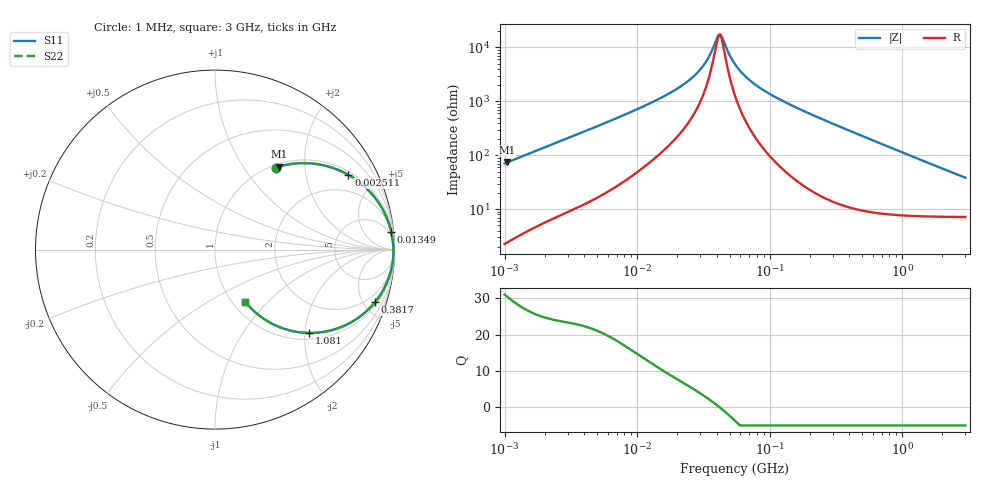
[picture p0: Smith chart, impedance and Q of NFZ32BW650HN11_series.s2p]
! NFZ32BW650HN11
# Hz S RI R 50
!Freq.(Hz) S11(Real) S11(Imag) S21(Real) S21(Imag) S12(Real) S12(Imag) S22(Real) S22(Imag)
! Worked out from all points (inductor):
!   401 points, 1 MHz to 3 GHz, reference 50 ohm
!   read as one part in series: L = 11.2 uH near 1.041 MHz
!   highest Q = 30.5 at 1.041 MHz (marker M1), where L = 11.2 uH
!   self-resonance near 41.39 MHz
!   S11 on the Smith chart (normalised r, x): 1 MHz: 1.05, +1.41; 2.511 MHz: 1.15, +3.48; 13.49 MHz: 3, +20; 381.7 MHz: 1.22, -5.99; 1.081 GHz: 1.15, -2.09; 3 GHz: 1.14, -0.75
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1000000  0.3381 0.4572  0.6619 -0.4572  0.6619 -0.4572  0.3381 0.4572
1040844  0.3554 0.4625  0.6446 -0.4625  0.6446 -0.4625  0.3554 0.4625
1584654  0.5498 0.4788  0.4502 -0.4788  0.4502 -0.4788  0.5498 0.4788
2511129  0.743 0.4166  0.257 -0.4166  0.257 -0.4166  0.743 0.4166
3823119  0.8636 0.3218  0.1364 -0.3218  0.1364 -0.3218  0.8636 0.3218
1.349163e7  0.9821 0.0963  0.0179 -0.0963  0.0179 -0.0963  0.9821 0.0963
1.461624e7  0.984 0.0875  0.016 -0.0875  0.016 -0.0875  0.984 0.0875
2.137957e7  0.9901 0.0512  0.00989 -0.0512  0.00989 -0.0512  0.9901 0.0512
2.829425e7  0.9926 0.0288  0.00738 -0.0288  0.00738 -0.0288  0.9926 0.0288
3.387922e7  0.9936 0.0154  0.00638 -0.0154  0.00638 -0.0154  0.9936 0.0154
4.138676e7  0.9943 0.000981  0.00574 -0.000981  0.00574 -0.000981  0.9943 0.000981
4.394807e7  0.9944 -0.00336  0.00565 0.00336  0.00565 0.00336  0.9944 -0.00336
4.955604e7  0.9944 -0.0121  0.0056 0.0121  0.0056 0.0121  0.9944 -0.0121
5.477226e7  0.9943 -0.0196  0.00571 0.0196  0.00571 0.0196  0.9943 -0.0196
6.690963e7  0.9936 -0.0352  0.0064 0.0352  0.0064 0.0352  0.9936 -0.0352
8.679508e7  0.9916 -0.0577  0.00844 0.0577  0.00844 0.0577  0.9916 -0.0577
2.094008e8  0.9633 -0.1699  0.0367 0.1699  0.0367 0.1699  0.9633 -0.1699
3.817355e8  0.8912 -0.2933  0.1088 0.2933  0.1088 0.2933  0.8912 -0.2933
8.005644e8  0.6593 -0.4465  0.3407 0.4465  0.3407 0.4465  0.6593 -0.4465
1.080907e9  0.5227 -0.4645  0.4773 0.4645  0.4773 0.4645  0.5227 -0.4645
1.855641e9  0.2952 -0.4003  0.7048 0.4003  0.7048 0.4003  0.2952 -0.4003
3e9  0.1696 -0.292  0.8304 0.292  0.8304 0.292  0.1696 -0.292
